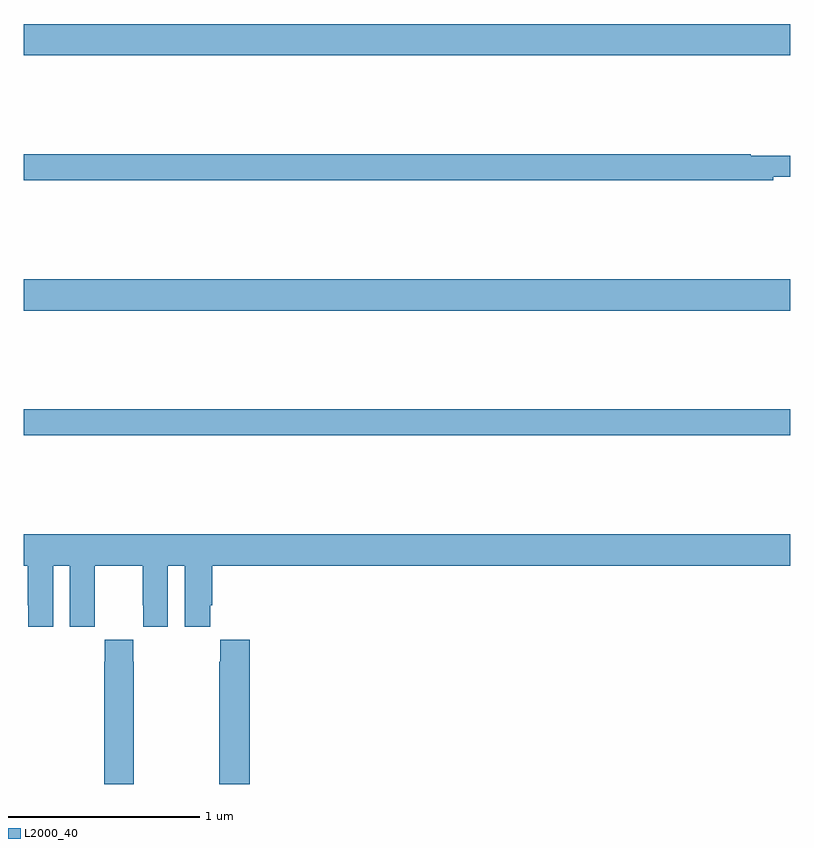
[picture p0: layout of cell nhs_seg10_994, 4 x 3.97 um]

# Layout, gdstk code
import gdstk
lib = gdstk.Library(unit=1e-6, precision=1e-09)
def R(c, l, rs):  # rectangles x0, y0, x1, y1
    for r in rs: c.add(gdstk.rectangle(r[:2], r[2:], *l))
def P(c, l, *ps):  # polygons
    for p in ps: c.add(gdstk.Polygon(p, *l))
L2000_40 = (2000, 40)

nhs_seg10_994 = lib.new_cell('nhs_seg10_994')
R(nhs_seg10_994, L2000_40, [(161,1310.32,165,1310.456), (161,1310.972,165,1311.136), (161,1312.304,165,1312.468)])
P(nhs_seg10_994, L2000_40, [(164.912,1311.671),(165,1311.671),(165,1311.781),(164.794,1311.781),(164.794,1311.788),(161,1311.788),(161,1311.652),(164.912,1311.652)],
  [(161.152,1309.64),(161.24,1309.64),(161.24,1309.32),(161.37,1309.32),(161.37,1309.432),(161.371,1309.432),(161.371,1309.64),(161.621,1309.64),(161.621,1309.432),(161.622,1309.432),(161.622,1309.32),(161.752,1309.32),(161.752,1309.64),(161.84,1309.64),(161.84,1309.32),(161.974,1309.32),(161.974,1309.432),(161.984,1309.432),(161.984,1309.64),(165,1309.64),(165,1309.804),(161,1309.804),(161,1309.64),(161.021,1309.64),(161.021,1309.432),(161.022,1309.432),(161.022,1309.32),(161.152,1309.32)],
  [(161.574,1309.139),(161.571,1309.139),(161.571,1309.252),(161.421,1309.252),(161.421,1309.139),(161.419,1309.139),(161.419,1308.5),(161.574,1308.5)],
  [(162.179,1309.252),(162.025,1309.252),(162.025,1309.139),(162.019,1309.139),(162.019,1308.5),(162.179,1308.5)])

lib.write_gds('nhs_seg10_994.gds')
